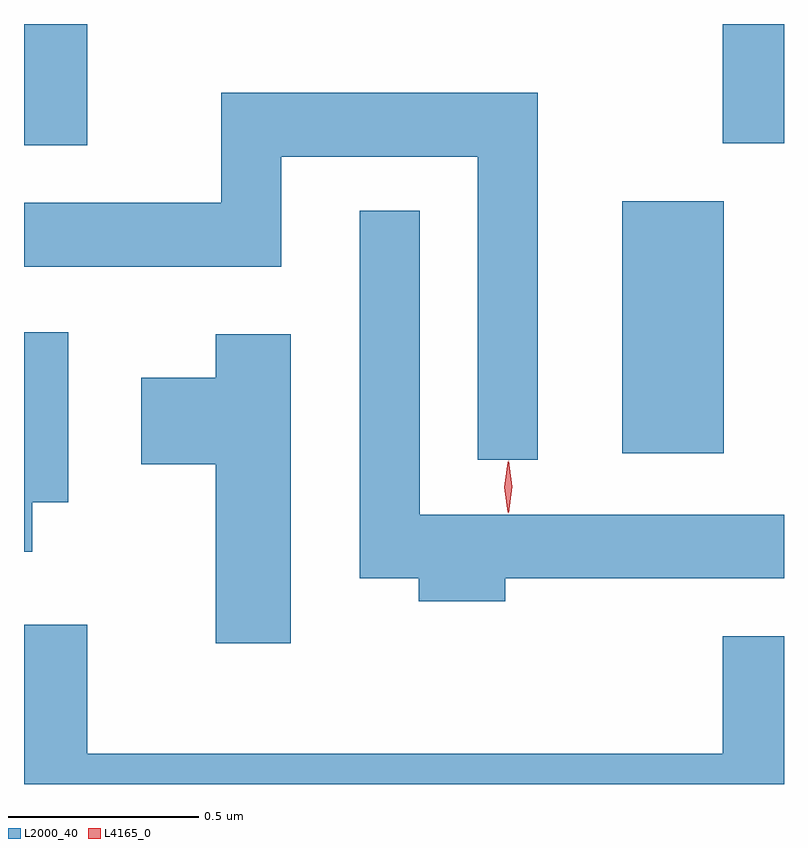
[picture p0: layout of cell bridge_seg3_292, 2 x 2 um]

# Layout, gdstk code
import gdstk
lib = gdstk.Library(unit=1e-6, precision=1e-09)
def R(c, l, rs):  # rectangles x0, y0, x1, y1
    for r in rs: c.add(gdstk.rectangle(r[:2], r[2:], *l))
def P(c, l, *ps):  # polygons
    for p in ps: c.add(gdstk.Polygon(p, *l))
L2000_40 = (2000, 40)
L4165_0 = (4165, 0)

bridge_seg3_292 = lib.new_cell('bridge_seg3_292')
R(bridge_seg3_292, L2000_40, [(1037.026,1135.956,1037.294,1136.619), (1035.452,1136.766,1035.619,1137.085), (1037.291,1136.771,1037.452,1137.085)])
P(bridge_seg3_292, L2000_40, [(1036.804,1136.904),(1035.971,1136.904),(1035.971,1136.614),(1035.452,1136.614),(1035.452,1136.446),(1036.129,1136.446),(1036.129,1136.736),(1036.646,1136.736),(1036.646,1135.938),(1036.804,1135.938)],
  [(1036.719,1135.626),(1037.452,1135.626),(1037.452,1135.794),(1036.494,1135.794),(1036.494,1136.593),(1036.336,1136.593),(1036.336,1135.626),(1036.491,1135.626),(1036.491,1135.566),(1036.719,1135.566)],
  [(1035.474,1135.826),(1035.569,1135.826),(1035.569,1136.274),(1035.452,1136.274),(1035.452,1135.696),(1035.474,1135.696)],
  [(1036.154,1136.269),(1035.956,1136.269),(1035.956,1136.154),(1035.761,1136.154),(1035.761,1135.926),(1035.956,1135.926),(1035.956,1135.456),(1036.154,1135.456)],
  [(1037.452,1135.474),(1037.291,1135.474),(1037.291,1135.164),(1035.619,1135.164),(1035.619,1135.504),(1035.452,1135.504),(1035.452,1135.085),(1037.452,1135.085)])
P(bridge_seg3_292, L4165_0, [(1036.727,1135.797),(1036.727,1135.798),(1036.717,1135.867),(1036.727,1135.936),(1036.727,1135.936),(1036.728,1135.936),(1036.737,1135.867),(1036.728,1135.798)],
  [(1036.725,1135.8),(1036.716,1135.866),(1036.725,1135.932),(1036.725,1135.933),(1036.726,1135.932),(1036.735,1135.866),(1036.726,1135.8),(1036.726,1135.8)])

lib.write_gds('bridge_seg3_292.gds')
